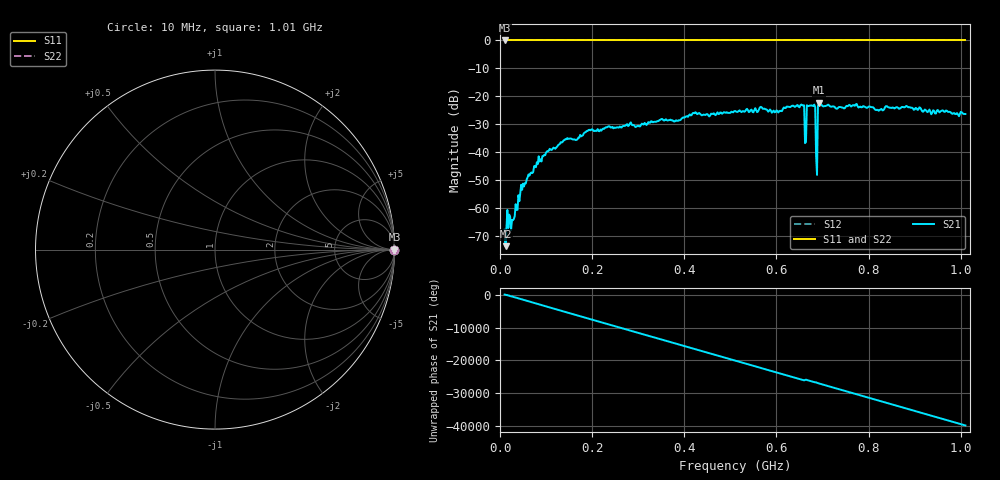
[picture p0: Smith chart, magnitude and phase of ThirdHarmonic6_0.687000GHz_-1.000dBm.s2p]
! 8/15/2025 10:56:29 PM
! C:\ANRITSUVNA\TEMP\TEMP.S2P
! CHANNEL.1
! TR.MEASUREMENT
! RAW.DATA
! RF.CORRECTION.OFF
! AVERAGING.OFF
! IF.BANDWIDTH: 5KHZ
! SWEEPTYPE:  FREQ.SWEEP(Linear)
! Reference Plane Port Info
! PORT:  PORT1  PORT2
! DISTANCE:  0  m  0  m
! TIME:  0  s  0  s
! PHASE.OFFSET:  0  deg.  0  deg.
! LOSS:  0  dB  0  dB
! REF.LOSS:  0  dB  0  dB
! REF.FREQ:  0  Hz  0  Hz
! Power Info
! POWER:  -20  dBm  -20  dBm
! EFF.POWER:  -20  dBm  -20  dBm
! SOURCE.ATTEN:  0  dB  0  dB
! TEST.ATTEN:  0  dB  0  dB
# GHZ S RI R 50.0
! FREQ.GHZ  S11RE  S11IM  S21RE  S21IM  S12RE  S12IM  S22RE  S22IM
!; PortSelection: Port_12
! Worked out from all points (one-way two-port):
!   501 points, 10 MHz to 1.01 GHz, reference 50 ohm
!   highest |S21| = -22.24 dB at 692 MHz (marker M1); lowest = -73.6 dB at 12 MHz (marker M2)
!   lowest |S11| = 0.0 dB at 10 MHz (marker M3)
!   |S11| at or under -10 dB: nowhere
!   |S22| runs from 0.0 to 0.0 dB; largest |S21 - S12| = 1.1
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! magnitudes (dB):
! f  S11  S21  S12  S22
! 10 MHz  0.0  -67.7  0.0  0.0
! 12 MHz  0.0  -73.6  0.0  0.0
! 18 MHz  0.0  -67.1  0.0  0.0
! 28 MHz  0.0  -64.3  0.0  0.0
! 48 MHz  0.0  -53.4  0.0  0.0
! 84 MHz  0.0  -41.4  0.0  0.0
! 142 MHz  0.0  -35.3  0.0  0.0
! 178 MHz  0.0  -34.1  0.0  0.0
! 344 MHz  0.0  -28.8  0.0  0.0
! 510 MHz  0.0  -25.2  0.0  0.0
! 656 MHz  0.0  -23.2  0.0  0.0
! 660 MHz  0.0  -23.2  0.0  0.0
! 666 MHz  0.0  -23.2  0.0  0.0
! 670 MHz  0.0  -23.5  0.0  0.0
! 678 MHz  0.0  -23.3  0.0  0.0
! 680 MHz  0.0  -23.5  0.0  0.0
! 684 MHz  0.0  -23.8  0.0  0.0
! 690 MHz  0.0  -23.6  0.0  0.0
! 692 MHz  0.0  -22.2  0.0  0.0
! 694 MHz  0.0  -22.7  0.0  0.0
! 844 MHz  0.0  -24.0  0.0  0.0
! 1.01 GHz  0.0  -26.3  0.0  0.0
